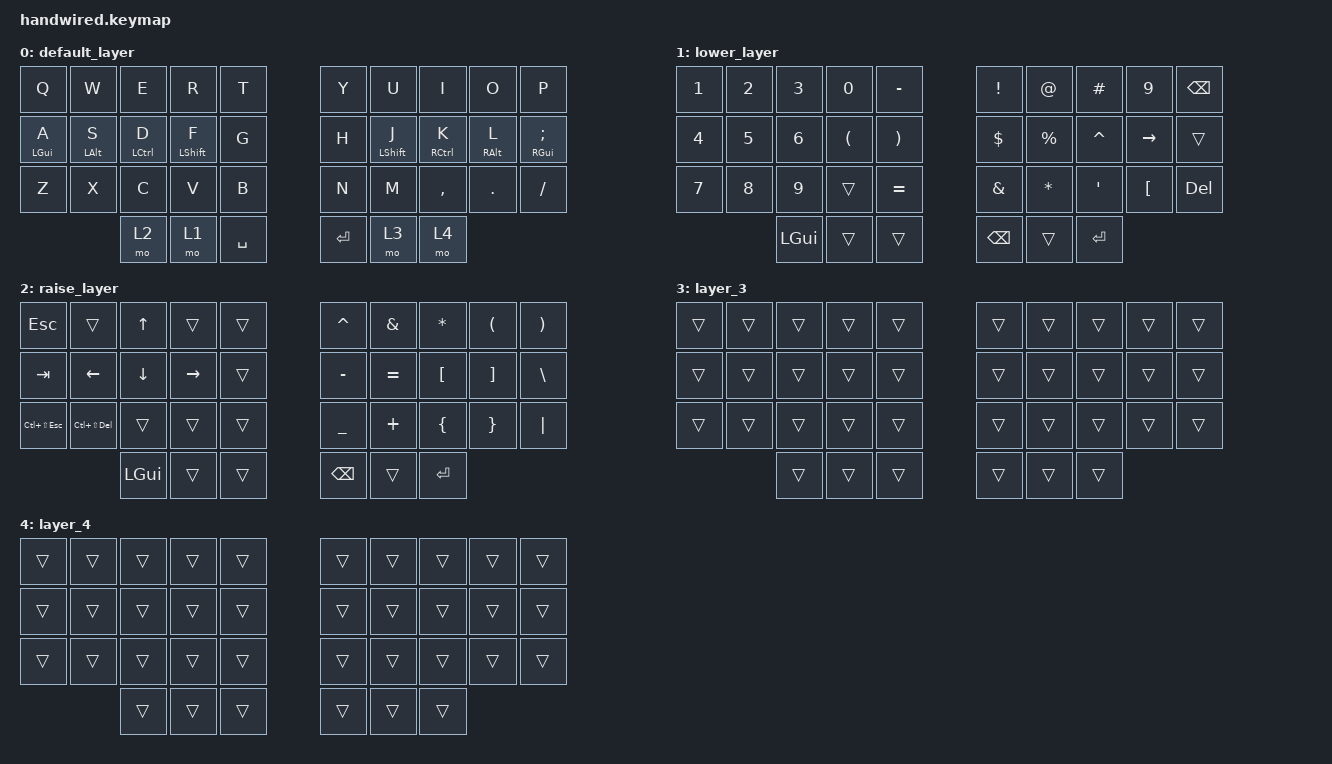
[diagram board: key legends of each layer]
/*
 * Copyright (c) 2020 The ZMK Contributors
 *
 * SPDX-License-Identifier: MIT
 */

#include <behaviors.dtsi>
#include <dt-bindings/zmk/keys.h>

/ {
    macros {
        ctrlshiftescape: ctrlshiftescape {
            compatible = "zmk,behavior-macro";
            #binding-cells = <0>;
            bindings = <&none &kp &kp>;
            label = "CTRLSHIFTESCAPE";
        };
    };

    keymap {
        compatible = "zmk,keymap";

        default_layer {
            // -----------------------------------------------------------------------------------------
            // |  TAB |  Q  |  W  |  E  |  R  |  T  |   |  Y  |  U   |  I  |  O  |  P  | BKSP |
            // | CTRL |  A  |  S  |  D  |  F  |  G  |   |  H  |  J   |  K  |  L  |  ;  |  '   |
            // | SHFT |  Z  |  X  |  C  |  V  |  B  |   |  N  |  M   |  ,  |  .  |  /  | ESC  |
            //                    | GUI | LWR | SPC |   | ENT | RSE  | ALT |

            bindings = <
&kp Q           &kp W           &kp E        &kp R             &kp T    &kp Y      &kp U         &kp I        &kp O            &kp P
&mt LEFT_GUI A  &mt LEFT_ALT S  &mt LCTRL D  &mt LEFT_SHIFT F  &kp G    &kp H      &mt LSHIFT J  &mt RCTRL K  &mt RIGHT_ALT L  &mt RIGHT_GUI SEMICOLON
&kp Z           &kp X           &kp C        &kp V             &kp B    &kp N      &kp M         &kp COMMA    &kp DOT          &kp FSLH
                                &mo 2        &mo 1             &kp SPACE   &kp RET  &mo 3 &mo 4 
            >;
        };

        lower_layer {
            // -----------------------------------------------------------------------------------------
            // |  TAB |  1  |  2  |  3  |  4  |  5  |   |  6  |  7  |  8  |  9  |  0  | BKSP |
            // | BTCLR| BT1 | BT2 | BT3 | BT4 | BT5 |   | LFT | DWN |  UP | RGT |     |      |
            // | SHFT |     |     |     |     |     |   |     |     |     |     |     |      |
            //                    | GUI |     | SPC |   | ENT |     | ALT |

            bindings = <
&kp N1        &kp N2  &kp N3        &kp N0                &kp MINUS                &kp EXCLAMATION  &kp AT_SIGN   &kp HASH   &kp N9     &kp BACKSPACE
&kp NUMBER_4  &kp N5  &kp NUMBER_6  &kp LEFT_PARENTHESIS  &kp RIGHT_PARENTHESIS    &kp DOLLAR       &kp PERCENT   &kp CARET  &kp RIGHT  &trans
&kp N7        &kp N8  &kp N9        &trans                &kp EQUAL                &kp AMPERSAND    &kp ASTERISK  &kp '     &kp  LEFT_BRACKET   &kp DEL
                                    &kp LGUI   &trans           &trans                   &kp BACKSPACE      &trans    &kp RET
            >;
        };

        raise_layer {
            // -----------------------------------------------------------------------------------------
            // |  TAB |  !  |  @  |  #  |  $  |  %  |   |  ^  |  &  |  *  |  (  |  )  | BKSP |
            // | CTRL |     |     |     |     |     |   |  -  |  =  |  [  |  ]  |  \  |  `   |
            // | SHFT |     |     |     |     |     |   |  _  |  +  |  {  |  }  | "|" |  ~   |
            //                    | GUI |     | SPC |   | ENT |     | ALT |

            bindings = <
&kp ESCAPE          &trans           &kp UP_ARROW    &trans           &trans    &kp CARET      &kp AMPS   &kp ASTRK  &kp LPAR  &kp RPAR
&kp TAB             &kp LEFT_ARROW   &kp DOWN_ARROW  &kp RIGHT_ARROW  &trans    &kp MINUS      &kp EQUAL  &kp LBKT   &kp RBKT  &kp BSLH
&kp LC(LS(ESCAPE))  &kp LC(LS(DEL))  &trans          &trans           &trans    &kp UNDER      &kp PLUS   &kp LBRC   &kp RBRC  &kp PIPE
                                                     &kp LGUI    &trans     &trans  &kp BACKSPACE &trans &kp RET
            >;
        };

        layer_3 {
            bindings = <
&trans  &trans  &trans  &trans  &trans    &trans  &trans  &trans  &trans  &trans
&trans  &trans  &trans  &trans  &trans    &trans  &trans  &trans  &trans  &trans
&trans  &trans  &trans  &trans  &trans    &trans  &trans  &trans  &trans  &trans
                        &trans  &trans    &trans  &trans &trans &trans
            >;
        };

 layer_4 {
            bindings = <
&trans  &trans  &trans  &trans  &trans    &trans  &trans  &trans  &trans  &trans
&trans  &trans  &trans  &trans  &trans    &trans  &trans  &trans  &trans  &trans
&trans  &trans  &trans  &trans  &trans    &trans  &trans  &trans  &trans  &trans
                        &trans  &trans    &trans  &trans &trans &trans
            >;
        };
    };
};
